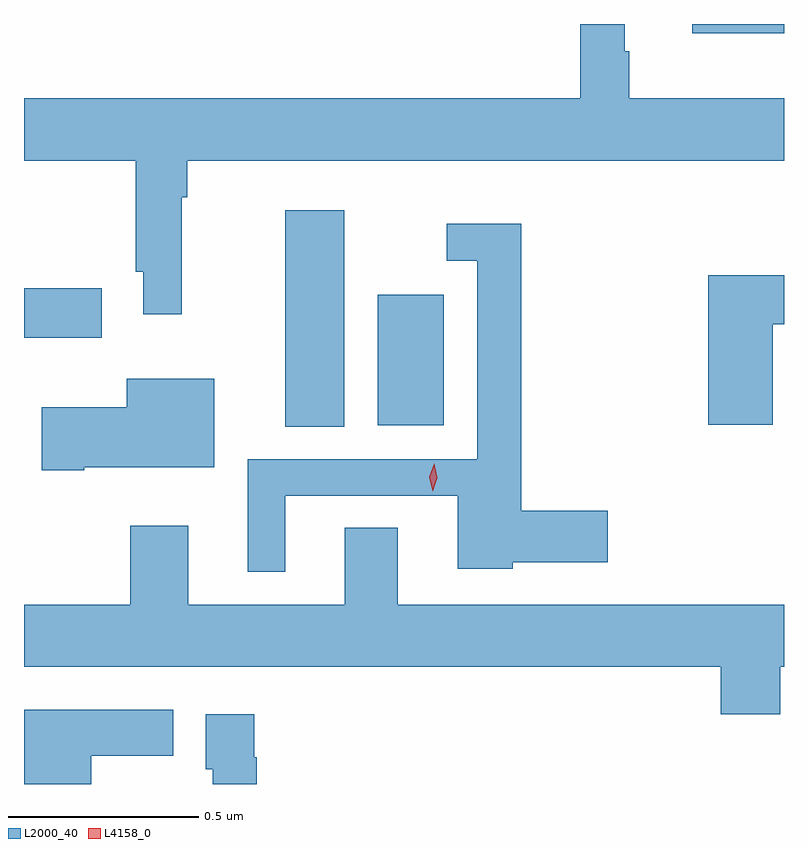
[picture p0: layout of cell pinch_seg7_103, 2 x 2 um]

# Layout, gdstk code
import gdstk
lib = gdstk.Library(unit=1e-6, precision=1e-09)
def R(c, l, rs):  # rectangles x0, y0, x1, y1
    for r in rs: c.add(gdstk.rectangle(r[:2], r[2:], *l))
def P(c, l, *ps):  # polygons
    for p in ps: c.add(gdstk.Polygon(p, *l))
L2000_40 = (2000, 40)
L4158_0 = (4158, 0)

pinch_seg7_103 = lib.new_cell('pinch_seg7_103')
R(pinch_seg7_103, L2000_40, [(904.589,1017.232,904.744,1017.802), (904.832,1017.236,905.005,1017.58), (903.901,1017.467,904.105,1017.597), (905.66,1018.268,905.901,1018.292)])
P(pinch_seg7_103, L2000_40, [(904.316,1017.836),(904.331,1017.836),(904.331,1017.932),(905.901,1017.932),(905.901,1018.096),(905.494,1018.096),(905.494,1018.22),(905.482,1018.22),(905.482,1018.292),(905.365,1018.292),(905.365,1018.096),(903.901,1018.096),(903.901,1017.932),(904.195,1017.932),(904.195,1017.64),(904.215,1017.64),(904.215,1017.528),(904.316,1017.528)],
  [(904.588,1017.051),(905.042,1017.051),(905.042,1016.858),(905.187,1016.858),(905.187,1016.876),(905.437,1016.876),(905.437,1017.011),(905.21,1017.011),(905.21,1017.766),(905.013,1017.766),(905.013,1017.669),(905.094,1017.669),(905.094,1017.147),(904.49,1017.147),(904.49,1016.85),(904.588,1016.85)],
  [(905.872,1017.502),(905.901,1017.502),(905.901,1017.631),(905.702,1017.631),(905.702,1017.237),(905.872,1017.237)],
  [(904.06,1017.125),(904.402,1017.125),(904.402,1017.358),(904.172,1017.358),(904.172,1017.283),(903.948,1017.283),(903.948,1017.118),(904.06,1017.118)],
  [(905.891,1016.6),(905.901,1016.6),(905.901,1016.764),(904.885,1016.764),(904.885,1016.966),(904.745,1016.966),(904.745,1016.764),(904.333,1016.764),(904.333,1016.971),(904.181,1016.971),(904.181,1016.764),(903.901,1016.764),(903.901,1016.6),(905.735,1016.6),(905.735,1016.476),(905.891,1016.476)],
  [(904.078,1016.366),(904.294,1016.366),(904.294,1016.488),(903.902,1016.488),(903.902,1016.292),(904.078,1016.292)],
  [(904.514,1016.363),(904.507,1016.363),(904.507,1016.476),(904.379,1016.476),(904.379,1016.331),(904.398,1016.331),(904.398,1016.292),(904.514,1016.292)])
P(pinch_seg7_103, L4158_0, [(904.976,1017.063),(904.976,1017.063),(904.968,1017.099),(904.981,1017.135),(904.981,1017.135),(904.981,1017.135),(904.988,1017.098),(904.976,1017.063)])

lib.write_gds('pinch_seg7_103.gds')
